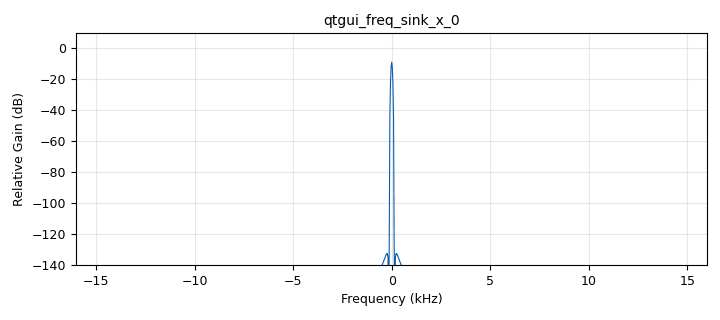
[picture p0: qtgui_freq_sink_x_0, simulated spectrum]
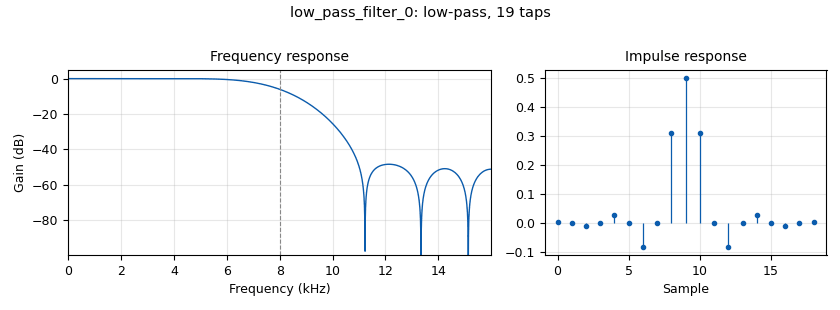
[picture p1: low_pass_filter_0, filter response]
options:
  parameters:
    author: Ivan Voronov
    generate_options: qt_gui
    id: filterVoronov
    output_language: python
    title: Low Pass Filter Example
  states: {}

blocks:
- name: frequency
  id: variable_qtgui_range
  parameters:
    start: '-samp_rate/2'
    step: '1'
    stop: samp_rate/2
    value: '0'
  states: {}
- name: samp_rate
  id: variable
  parameters:
    value: '32000'
  states: {}
- name: analog_sig_source_x_0
  id: analog_sig_source_x
  parameters:
    amp: '1'
    freq: frequency
    offset: '0'
    phase: '0'
    samp_rate: samp_rate
    type: complex
    waveform: analog.GR_COS_WAVE
  states: {}
- name: blocks_throttle2_0
  id: blocks_throttle2
  parameters:
    samples_per_second: samp_rate
    type: complex
  states: {}
- name: low_pass_filter_0
  id: low_pass_filter
  parameters:
    cutoff_freq: samp_rate/4
    decim: '1'
    gain: '1'
    samp_rate: samp_rate
    type: fir_filter_ccf
    width: samp_rate/8
    win: window.WIN_HAMMING
  states: {}
- name: qtgui_freq_sink_x_0
  id: qtgui_freq_sink_x
  parameters:
    bw: samp_rate
    fc: '0'
    fftsize: '1024'
    type: complex
  states: {}

connections:
- [analog_sig_source_x_0, '0', low_pass_filter_0, '0']
- [blocks_throttle2_0, '0', qtgui_freq_sink_x_0, '0']
- [low_pass_filter_0, '0', blocks_throttle2_0, '0']

metadata:
  file_format: 1
  grc_version: 3.10.7.0
